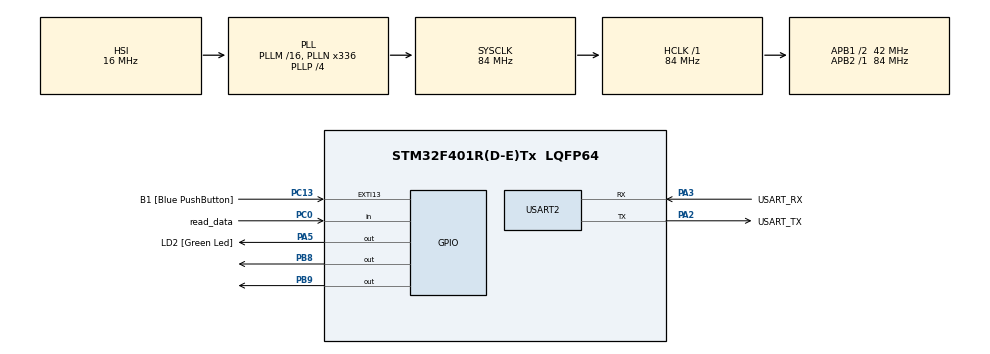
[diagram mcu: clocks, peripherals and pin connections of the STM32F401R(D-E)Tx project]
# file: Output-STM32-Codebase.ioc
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Mcu.Family=STM32F4
Mcu.Name=STM32F401R(D-E)Tx
Mcu.Package=LQFP64
NVIC.PriorityGroup=NVIC_PRIORITYGROUP_0
PA13.GPIO_Label=TMS
PA13.Mode=Serial_Wire
PA13.Signal=SYS_JTMS-SWDIO
PA14.GPIO_Label=TCK
PA14.Mode=Serial_Wire
PA14.Signal=SYS_JTCK-SWCLK
PA2.GPIO_Label=USART_TX
PA2.GPIO_Mode=GPIO_MODE_AF_PP
PA2.GPIO_PuPd=GPIO_NOPULL
PA2.GPIO_Speed=GPIO_SPEED_FREQ_LOW
PA2.Mode=Asynchronous
PA2.Signal=USART2_TX
PA3.GPIO_Label=USART_RX
PA3.GPIO_Mode=GPIO_MODE_AF_PP
PA3.GPIO_PuPd=GPIO_NOPULL
PA3.GPIO_Speed=GPIO_SPEED_FREQ_LOW
PA3.Mode=Asynchronous
PA3.Signal=USART2_RX
PA5.GPIO_Label=LD2 [Green Led]
PA5.GPIO_Mode=GPIO_MODE_OUTPUT_PP
PA5.GPIO_PuPd=GPIO_NOPULL
PA5.GPIO_Speed=GPIO_SPEED_FREQ_LOW
PA5.Signal=GPIO_Output
PB3.GPIO_Label=SWO
PB3.Signal=SYS_JTDO-SWO
PB8.Signal=GPIO_Output
PB9.Signal=GPIO_Output
PC0.GPIO_Label=read_data
PC0.GPIO_PuPd=GPIO_PULLDOWN
PC0.Signal=GPIO_Input
PC13-ANTI_TAMP.GPIO_Label=B1 [Blue PushButton]
PC13-ANTI_TAMP.GPIO_ModeDefaultEXTI=GPIO_MODE_IT_FALLING
PC13-ANTI_TAMP.GPIO_PuPd=GPIO_NOPULL
PC13-ANTI_TAMP.Signal=GPXTI13
PC14-OSC32_IN.Mode=LSE-External-Oscillator
PC14-OSC32_IN.Signal=RCC_OSC32_IN
PC15-OSC32_OUT.Mode=LSE-External-Oscillator
PC15-OSC32_OUT.Signal=RCC_OSC32_OUT
PH0\ -\ OSC_IN.Mode=HSE-External-Clock-Source
PH0\ -\ OSC_IN.Signal=RCC_OSC_IN
PH1\ -\ OSC_OUT.Mode=HSE-External-Clock-Source
PH1\ -\ OSC_OUT.Signal=RCC_OSC_OUT
ProjectManager.HeapSize=0x200
ProjectManager.StackSize=0x400
ProjectManager.TargetToolchain=STM32CubeIDE
RCC.48MHZClocksFreq_Value=48000000
RCC.AHBFreq_Value=84000000
RCC.APB1CLKDivider=RCC_HCLK_DIV2
RCC.APB1Freq_Value=42000000
RCC.APB1TimFreq_Value=84000000
RCC.APB2Freq_Value=84000000
RCC.APB2TimFreq_Value=84000000
RCC.CortexFreq_Value=84000000
RCC.HCLKFreq_Value=84000000
RCC.HSE_VALUE=8000000
RCC.HSI_VALUE=16000000
RCC.PLLN=336
RCC.PLLP=RCC_PLLP_DIV4
RCC.PLLQ=7
RCC.SYSCLKFreq_VALUE=84000000
RCC.SYSCLKSource=RCC_SYSCLKSOURCE_PLLCLK
RCC.VCOOutputFreq_Value=336000000
USART2.VirtualMode=VM_ASYNC
board=NUCLEO-F401RE

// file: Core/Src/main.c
/* USER CODE BEGIN Header */
/**
  ******************************************************************************
  * @file           : main.c
  * @brief          : Main program body
  ******************************************************************************
  * @attention
  *
  * Copyright (c) 2024 STMicroelectronics.
  * All rights reserved.
  *
  * This software is licensed under terms that can be found in the LICENSE file
  * in the root directory of this software component.
  * If no LICENSE file comes with this software, it is provided AS-IS.
  *
  ******************************************************************************
  */
/* USER CODE END Header */
#include "main.h"

/* USER CODE BEGIN Includes */

#include <string.h>
#include <stdio.h>
#include <stdbool.h>

/* USER CODE END Includes */

UART_HandleTypeDef huart2;

void SystemClock_Config(void);
static void MX_GPIO_Init(void);
static void MX_USART2_UART_Init(void);

/* USER CODE BEGIN 0 */

int readData(GPIO_TypeDef* GPIOx, uint16_t GPIO_Pin, int clockDelay) {
	int value = 0;
	char msg[20];

	for(int i = 0; i < 8; i++) {
		int readBit = HAL_GPIO_ReadPin(GPIOx, GPIO_Pin);
		value += (readBit << i);
		HAL_Delay(clockDelay);

		sprintf(msg, "%u: %u\r\n", i, readBit);
		HAL_UART_Transmit(&huart2, (uint32_t*)msg, strlen(msg), HAL_MAX_DELAY);
	}

	sprintf(msg, "Value: %u\r\n", value);
	HAL_UART_Transmit(&huart2, (uint32_t*)msg, strlen(msg), HAL_MAX_DELAY);
	return value;
}

bool isWithinRange(int temperature) {
	if(20 <= temperature && temperature <= 30) return true;
	return false;
}
//
//void GetCondition(bool *condition) {
//	if()
//	// Read the state of a GPIO pin (BLANK)
//	GPIO_PinState pinState = HAL_GPIO_ReadPin(GPIOB, GPIO_PIN_10);  // Read pin PB10
//
//	// Update condition based on the pin state
//	if (pinState == GPIO_PIN_SET) {
//	    *condition = true;  // condition is true if PB10 is high
//	} else {
//    *condition = false;  // condition is false if PB10 is low
//}
//}

/* USER CODE END 0 */

int main(void)
{

  /* MCU Configuration--------------------------------------------------------*/

  /* Reset of all peripherals, Initializes the Flash interface and the Systick. */
  HAL_Init();

  /* Configure the system clock */
  SystemClock_Config();

  /* Initialize all configured peripherals */
  MX_GPIO_Init();
  MX_USART2_UART_Init();
  /* USER CODE BEGIN 2 */

  const int clockDelay = 100;

  /* USER CODE END 2 */

  /* Infinite loop */
  /* USER CODE BEGIN WHILE */
  while (1)
  {
	  if(HAL_GPIO_ReadPin(read_data_GPIO_Port, read_data_Pin) == 1) continue;
	  HAL_Delay(clockDelay);
	  int dataReceived = readData(read_data_GPIO_Port, read_data_Pin, clockDelay);
	  HAL_GPIO_WritePin(LD2_GPIO_Port, LD2_Pin, 0);

	  if(isWithinRange(dataReceived)) {
		  HAL_GPIO_WritePin(GPIOB, GPIO_PIN_8, GPIO_PIN_SET); // Turn on LED2
		  HAL_GPIO_WritePin(GPIOB, GPIO_PIN_9, GPIO_PIN_RESET); // Turn off LED1

          continue;
	  }

	  HAL_GPIO_WritePin(GPIOB, GPIO_PIN_9, GPIO_PIN_SET); // Turn on LED1
	  HAL_GPIO_WritePin(GPIOB, GPIO_PIN_8, GPIO_PIN_RESET); // Turn off LED2

//	  bool condition1;
//
//
//	          // Call the function to get updated conditions
//	          GetConditions(*condition1);
//
//	          if (condition1) {
//	              HAL_GPIO_WritePin(GPIOB, GPIO_PIN_9, GPIO_PIN_SET); // Turn on LED1
//	              HAL_GPIO_WritePin(GPIOB, GPIO_PIN_8, GPIO_PIN_RESET); // Turn off LED2
//	          } else {
//	          	HAL_GPIO_WritePin(GPIOB, GPIO_PIN_8, GPIO_PIN_SET); // Turn on LED2
//	              HAL_GPIO_WritePin(GPIOB, GPIO_PIN_9, GPIO_PIN_RESET); // Turn off LED1
//	          }

    /* USER CODE END WHILE */

  }
}

void SystemClock_Config(void)
{
  RCC_OscInitTypeDef RCC_OscInitStruct = {0};
  RCC_ClkInitTypeDef RCC_ClkInitStruct = {0};

  /** Configure the main internal regulator output voltage
  */
  __HAL_RCC_PWR_CLK_ENABLE();
  __HAL_PWR_VOLTAGESCALING_CONFIG(PWR_REGULATOR_VOLTAGE_SCALE2);

  /** Initializes the RCC Oscillators according to the specified parameters
  * in the RCC_OscInitTypeDef structure.
  */
  RCC_OscInitStruct.OscillatorType = RCC_OSCILLATORTYPE_HSI;
  RCC_OscInitStruct.HSIState = RCC_HSI_ON;
  RCC_OscInitStruct.HSICalibrationValue = RCC_HSICALIBRATION_DEFAULT;
  RCC_OscInitStruct.PLL.PLLState = RCC_PLL_ON;
  RCC_OscInitStruct.PLL.PLLSource = RCC_PLLSOURCE_HSI;
  RCC_OscInitStruct.PLL.PLLM = 16;
  RCC_OscInitStruct.PLL.PLLN = 336;
  RCC_OscInitStruct.PLL.PLLP = RCC_PLLP_DIV4;
  RCC_OscInitStruct.PLL.PLLQ = 7;
  if (HAL_RCC_OscConfig(&RCC_OscInitStruct) != HAL_OK)
  {
    Error_Handler();
  }

  /** Initializes the CPU, AHB and APB buses clocks
  */
  RCC_ClkInitStruct.ClockType = RCC_CLOCKTYPE_HCLK|RCC_CLOCKTYPE_SYSCLK
                              |RCC_CLOCKTYPE_PCLK1|RCC_CLOCKTYPE_PCLK2;
  RCC_ClkInitStruct.SYSCLKSource = RCC_SYSCLKSOURCE_PLLCLK;
  RCC_ClkInitStruct.AHBCLKDivider = RCC_SYSCLK_DIV1;
  RCC_ClkInitStruct.APB1CLKDivider = RCC_HCLK_DIV2;
  RCC_ClkInitStruct.APB2CLKDivider = RCC_HCLK_DIV1;

  if (HAL_RCC_ClockConfig(&RCC_ClkInitStruct, FLASH_LATENCY_2) != HAL_OK)
  {
    Error_Handler();
  }
}

static void MX_USART2_UART_Init(void)
{

  huart2.Instance = USART2;
  huart2.Init.BaudRate = 115200;
  huart2.Init.WordLength = UART_WORDLENGTH_8B;
  huart2.Init.StopBits = UART_STOPBITS_1;
  huart2.Init.Parity = UART_PARITY_NONE;
  huart2.Init.Mode = UART_MODE_TX_RX;
  huart2.Init.HwFlowCtl = UART_HWCONTROL_NONE;
  huart2.Init.OverSampling = UART_OVERSAMPLING_16;
  if (HAL_UART_Init(&huart2) != HAL_OK)
  {
    Error_Handler();
  }

}

static void MX_GPIO_Init(void)
{
  GPIO_InitTypeDef GPIO_InitStruct = {0};

  /* GPIO Ports Clock Enable */
  __HAL_RCC_GPIOC_CLK_ENABLE();
  __HAL_RCC_GPIOH_CLK_ENABLE();
  __HAL_RCC_GPIOA_CLK_ENABLE();
  __HAL_RCC_GPIOB_CLK_ENABLE();

  /*Configure GPIO pin Output Level */
  HAL_GPIO_WritePin(LD2_GPIO_Port, LD2_Pin, GPIO_PIN_RESET);

  /*Configure GPIO pin Output Level */
  HAL_GPIO_WritePin(GPIOB, GPIO_PIN_8|GPIO_PIN_9, GPIO_PIN_RESET);

  /*Configure GPIO pin : B1_Pin */
  GPIO_InitStruct.Pin = B1_Pin;
  GPIO_InitStruct.Mode = GPIO_MODE_IT_FALLING;
  GPIO_InitStruct.Pull = GPIO_NOPULL;
  HAL_GPIO_Init(B1_GPIO_Port, &GPIO_InitStruct);

  /*Configure GPIO pin : read_data_Pin */
  GPIO_InitStruct.Pin = read_data_Pin;
  GPIO_InitStruct.Mode = GPIO_MODE_INPUT;
  GPIO_InitStruct.Pull = GPIO_PULLDOWN;
  HAL_GPIO_Init(read_data_GPIO_Port, &GPIO_InitStruct);

  /*Configure GPIO pin : LD2_Pin */
  GPIO_InitStruct.Pin = LD2_Pin;
  GPIO_InitStruct.Mode = GPIO_MODE_OUTPUT_PP;
  GPIO_InitStruct.Pull = GPIO_NOPULL;
  GPIO_InitStruct.Speed = GPIO_SPEED_FREQ_LOW;
  HAL_GPIO_Init(LD2_GPIO_Port, &GPIO_InitStruct);

  /*Configure GPIO pins : PB8 PB9 */
  GPIO_InitStruct.Pin = GPIO_PIN_8|GPIO_PIN_9;
  GPIO_InitStruct.Mode = GPIO_MODE_OUTPUT_PP;
  GPIO_InitStruct.Pull = GPIO_NOPULL;
  GPIO_InitStruct.Speed = GPIO_SPEED_FREQ_LOW;
  HAL_GPIO_Init(GPIOB, &GPIO_InitStruct);

}

void Error_Handler(void)
{
  __disable_irq();
  while (1)
  {
  }
}
